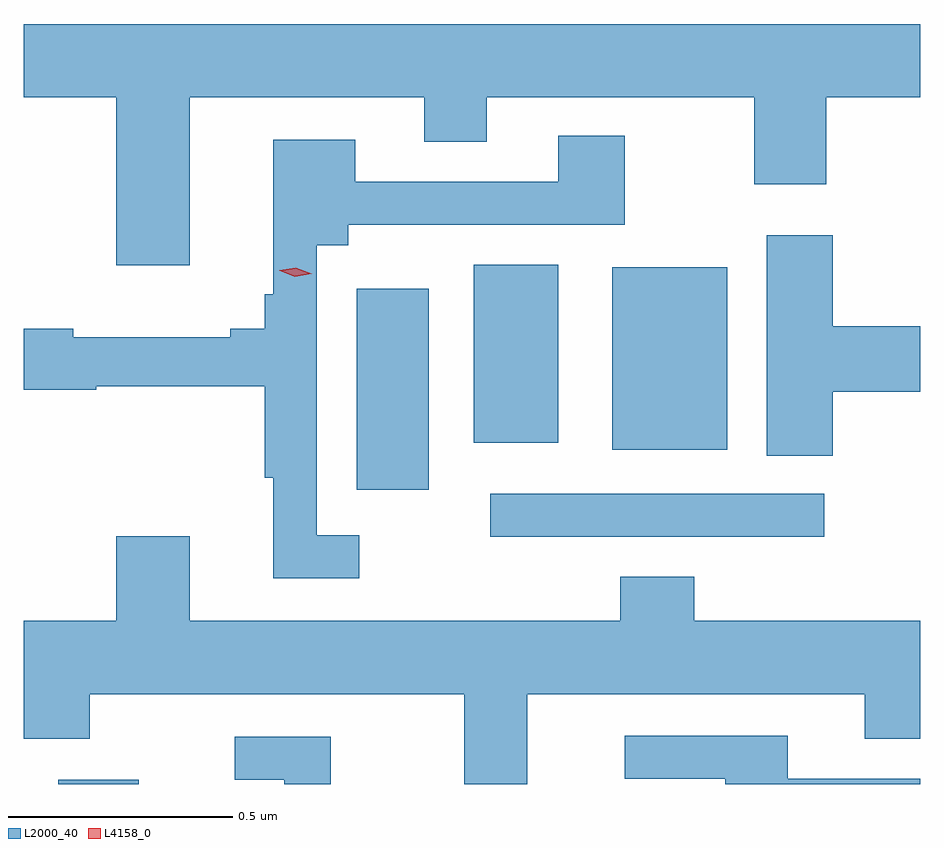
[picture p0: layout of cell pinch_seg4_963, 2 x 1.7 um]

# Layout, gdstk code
import gdstk
lib = gdstk.Library(unit=1e-6, precision=1e-09)
def R(c, l, rs):  # rectangles x0, y0, x1, y1
    for r in rs: c.add(gdstk.rectangle(r[:2], r[2:], *l))
def P(c, l, *ps):  # polygons
    for p in ps: c.add(gdstk.Polygon(p, *l))
L2000_40 = (2000, 40)
L4158_0 = (4158, 0)

pinch_seg4_963 = lib.new_cell('pinch_seg4_963')
R(pinch_seg4_963, L2000_40, [(680.363,784.632,680.542,784.642), (681.327,785.184,682.072,785.28), (681.029,785.289,681.19,785.737), (681.599,785.378,681.856,785.785), (681.29,785.393,681.478,785.791)])
P(pinch_seg4_963, L2000_40, [(680.656,786.164),(681.179,786.164),(681.179,786.065),(681.319,786.065),(681.319,786.164),(681.916,786.164),(681.916,785.97),(682.076,785.97),(682.076,786.164),(682.286,786.164),(682.286,786.328),(680.286,786.328),(680.286,786.164),(680.492,786.164),(680.492,785.79),(680.656,785.79)],
  [(681.034,785.187),(680.94,785.187),(680.94,785.834),(681.01,785.834),(681.01,785.88),(681.627,785.88),(681.627,786.079),(681.479,786.079),(681.479,785.976),(681.025,785.976),(681.025,786.07),(680.843,786.07),(680.843,785.725),(680.824,785.725),(680.824,785.648),(680.747,785.648),(680.747,785.629),(680.396,785.629),(680.396,785.648),(680.286,785.648),(680.286,785.512),(680.447,785.512),(680.447,785.52),(680.824,785.52),(680.824,785.315),(680.843,785.315),(680.843,785.091),(681.034,785.091)],
  [(682.091,785.507),(682.286,785.507),(682.286,785.654),(682.091,785.654),(682.091,785.857),(681.944,785.857),(681.944,785.365),(682.091,785.365)],
  [(681.409,784.832),(682.163,784.832),(682.163,784.733),(682.286,784.733),(682.286,784.996),(681.782,784.996),(681.782,785.095),(681.617,785.095),(681.617,784.996),(680.656,784.996),(680.656,785.185),(680.492,785.185),(680.492,784.996),(680.286,784.996),(680.286,784.733),(680.433,784.733),(680.433,784.832),(681.269,784.832),(681.269,784.632),(681.409,784.632)],
  [(682.286,784.644),(681.991,784.644),(681.991,784.74),(681.627,784.74),(681.627,784.644),(681.851,784.644),(681.851,784.632),(682.286,784.632)],
  [(680.971,784.737),(680.757,784.737),(680.757,784.641),(680.867,784.641),(680.867,784.632),(680.971,784.632)])
P(pinch_seg4_963, L4158_0, [(680.891,785.764),(680.857,785.777),(680.856,785.778),(680.857,785.778),(680.893,785.784),(680.928,785.771),(680.928,785.771),(680.928,785.771)])

lib.write_gds('pinch_seg4_963.gds')
